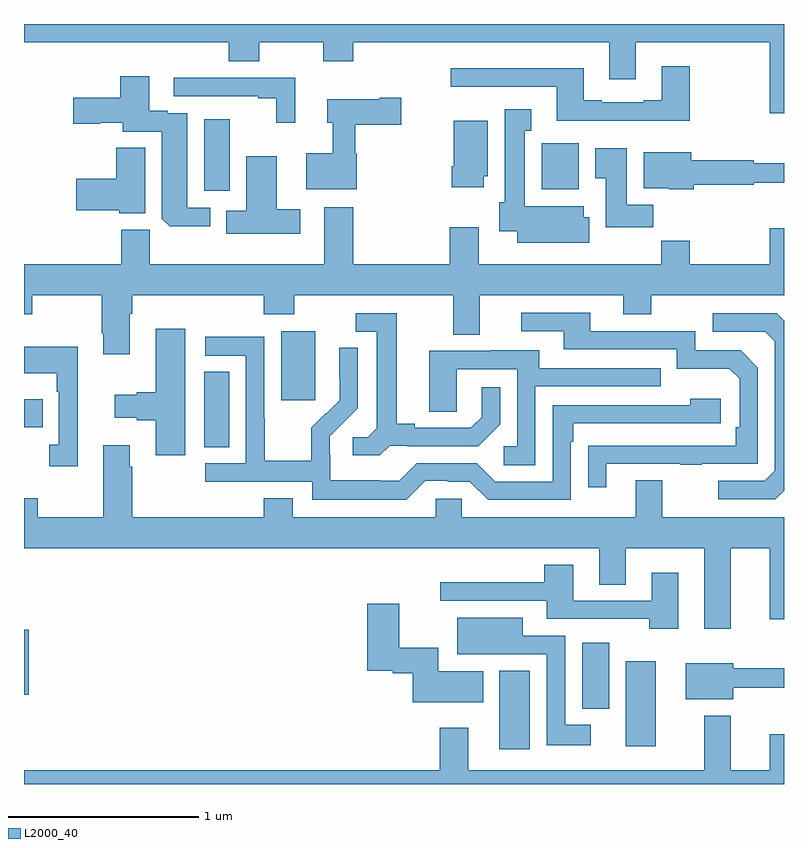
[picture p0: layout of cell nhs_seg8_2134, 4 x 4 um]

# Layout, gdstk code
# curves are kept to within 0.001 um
import gdstk
lib = gdstk.Library(unit=1e-6, precision=1e-09)
def R(c, l, rs):  # rectangles x0, y0, x1, y1
    for r in rs: c.add(gdstk.rectangle(r[:2], r[2:], *l))
def P(c, l, *ps):  # polygons
    for p in ps: c.add(gdstk.Polygon(p, *l))
L2000_40 = (2000, 40)

nhs_seg8_2134 = lib.new_cell('nhs_seg8_2134')
R(nhs_seg8_2134, L2000_40, [(247.502,1142.082,247.663,1142.497), (248.168,1142.1,248.326,1142.545), (247.937,1142.297,248.08,1142.644), (245,1142.369,245.026,1142.713), (245.948,1143.673,246.079,1144.07), (245,1143.778,245.099,1143.925), (246.353,1143.921,246.532,1144.282), (245.948,1145.022,246.082,1145.398), (247.724,1145.03,247.921,1145.272)])
P(nhs_seg8_2134, L2000_40, [(245,1145.804),(246.077,1145.804),(246.077,1145.705),(246.237,1145.705),(246.237,1145.804),(246.574,1145.804),(246.574,1145.705),(246.734,1145.705),(246.734,1145.804),(248.081,1145.804),(248.081,1145.61),(248.221,1145.61),(248.221,1145.804),(248.924,1145.804),(248.924,1145.43),(249,1145.43),(249,1145.9),(245,1145.9)],
  [(248.505,1145.677),(248.357,1145.677),(248.357,1145.5),(248.261,1145.5),(248.261,1145.487),(248.041,1145.487),(248.041,1145.5),(247.945,1145.5),(247.945,1145.668),(247.245,1145.668),(247.245,1145.571),(247.805,1145.571),(247.805,1145.39),(248.505,1145.39)],
  [(245.979,1144.932),(245.86,1144.932),(245.86,1145.43),(245.756,1145.43),(245.756,1145.443),(245.659,1145.443),(245.659,1145.626),(245.507,1145.626),(245.507,1145.511),(245.259,1145.511),(245.259,1145.374),(245.402,1145.374),(245.402,1145.381),(245.519,1145.381),(245.519,1145.334),(245.726,1145.334),(245.726,1144.876),(245.768,1144.835),(245.979,1144.835)],
  [(246.427,1145.616),(245.787,1145.616),(245.787,1145.52),(246.233,1145.52),(246.233,1145.508),(246.328,1145.508),(246.328,1145.379),(246.427,1145.379)],
  [(246.751,1145.217),(246.743,1145.217),(246.743,1145.369),(246.985,1145.369),(246.985,1145.511),(246.872,1145.511),(246.872,1145.503),(246.596,1145.503),(246.596,1145.381),(246.626,1145.381),(246.626,1145.221),(246.485,1145.221),(246.485,1145.03),(246.751,1145.03)],
  [(247.975,1144.883),(247.945,1144.883),(247.945,1144.942),(247.636,1144.942),(247.636,1145.339),(247.669,1145.339),(247.669,1145.452),(247.529,1145.452),(247.529,1144.962),(247.502,1144.962),(247.502,1144.808),(247.595,1144.808),(247.595,1144.748),(247.975,1144.748)],
  [(247.42,1145.1),(247.441,1145.1),(247.441,1145.392),(247.262,1145.392),(247.262,1145.152),(247.25,1145.152),(247.25,1145.04),(247.42,1145.04)],
  [(245.638,1145.249),(245.486,1145.249),(245.486,1145.085),(245.274,1145.085),(245.274,1144.919),(245.502,1144.919),(245.502,1144.904),(245.638,1144.904)],
  [(248.312,1144.948),(248.173,1144.948),(248.173,1145.245),(248.006,1145.245),(248.006,1145.089),(248.063,1145.089),(248.063,1144.83),(248.312,1144.83)],
  [(248.525,1145.055),(248.842,1145.055),(248.842,1145.065),(249,1145.065),(249,1145.168),(248.842,1145.168),(248.842,1145.183),(248.512,1145.183),(248.512,1145.224),(248.261,1145.224),(248.261,1145.036),(248.394,1145.036),(248.394,1145.03),(248.525,1145.03)],
  [(246.454,1144.926),(246.331,1144.926),(246.331,1145.203),(246.17,1145.203),(246.17,1144.918),(246.064,1144.918),(246.064,1144.796),(246.454,1144.796)],
  [(246.263,1144.373),(246.423,1144.373),(246.423,1144.472),(247.259,1144.472),(247.259,1144.264),(247.399,1144.264),(247.399,1144.472),(248.153,1144.472),(248.153,1144.373),(248.301,1144.373),(248.301,1144.472),(249,1144.472),(249,1144.825),(248.924,1144.825),(248.924,1144.636),(248.505,1144.636),(248.505,1144.76),(248.353,1144.76),(248.353,1144.636),(247.393,1144.636),(247.393,1144.831),(247.241,1144.831),(247.241,1144.636),(246.734,1144.636),(246.734,1144.936),(246.581,1144.936),(246.581,1144.636),(245.663,1144.636),(245.663,1144.818),(245.513,1144.818),(245.513,1144.636),(245,1144.636),(245,1144.373),(245.043,1144.373),(245.043,1144.472),(245.41,1144.472),(245.41,1144.273),(245.417,1144.273),(245.417,1144.161),(245.557,1144.161),(245.557,1144.376),(245.57,1144.376),(245.57,1144.472),(246.263,1144.472)],
  [(248.065,1143.585),(248.455,1143.585),(248.455,1143.58),(248.567,1143.58),(248.567,1143.585),(248.862,1143.585),(248.862,1144.092),(248.772,1144.182),(248.532,1144.182),(248.532,1144.284),(247.981,1144.284),(247.981,1144.38),(247.617,1144.38),(247.617,1144.284),(247.841,1144.284),(247.841,1144.188),(248.436,1144.188),(248.436,1144.085),(248.713,1144.085),(248.766,1144.032),(248.766,1143.778),(248.746,1143.778),(248.746,1143.681),(247.969,1143.68),(247.969,1143.462),(248.065,1143.462)],
  [(249,1143.444),(249,1144.338),(248.961,1144.377),(248.625,1144.377),(248.625,1144.281),(248.901,1144.281),(248.952,1144.23),(248.952,1143.549),(248.898,1143.495),(248.655,1143.495),(248.655,1143.399),(248.955,1143.399)],
  [(246.924,1143.681),(247.018,1143.681),(247.018,1143.678),(247.39,1143.678),(247.506,1143.794),(247.506,1143.988),(247.409,1143.988),(247.409,1143.831),(247.352,1143.774),(247.057,1143.774),(247.057,1143.797),(246.961,1143.797),(246.961,1144.377),(246.747,1144.377),(246.747,1144.281),(246.857,1144.281),(246.857,1143.773),(246.81,1143.726),(246.729,1143.726),(246.729,1143.629),(246.872,1143.629)],
  [(245.848,1144.297),(245.693,1144.297),(245.693,1143.962),(245.594,1143.962),(245.594,1143.949),(245.478,1143.949),(245.478,1143.827),(245.594,1143.827),(245.594,1143.815),(245.693,1143.815),(245.693,1143.63),(245.848,1143.63)],
  [(247.113,1143.495),(247.229,1143.495),(247.229,1143.492),(247.347,1143.492),(247.443,1143.396),(247.878,1143.396),(247.878,1143.701),(247.891,1143.701),(247.891,1143.798),(248.668,1143.798),(248.668,1143.928),(248.507,1143.928),(248.507,1143.894),(247.782,1143.894),(247.782,1143.492),(247.479,1143.492),(247.383,1143.588),(247.068,1143.588),(246.975,1143.495),(246.875,1143.495),(246.875,1143.499),(246.612,1143.499),(246.612,1143.633),(246.61,1143.633),(246.61,1143.73),(246.756,1143.878),(246.756,1144.196),(246.66,1144.196),(246.66,1144.042),(246.662,1144.042),(246.662,1143.92),(246.591,1143.849),(246.588,1143.852),(246.511,1143.775),(246.511,1143.601),(246.267,1143.601),(246.267,1143.824),(246.264,1143.824),(246.264,1144.254),(245.955,1144.254),(245.955,1144.155),(246.168,1144.155),(246.168,1143.588),(245.955,1143.588),(245.955,1143.492),(246.516,1143.492),(246.516,1143.395),(247.013,1143.395)],
  [(245.282,1144.201),(245,1144.201),(245,1144.061),(245.172,1144.061),(245.172,1143.965),(245.184,1143.965),(245.184,1143.686),(245.133,1143.686),(245.133,1143.573),(245.282,1143.573)],
  [(247.692,1143.993),(248.351,1143.993),(248.351,1144.089),(247.711,1144.089),(247.711,1144.183),(247.457,1144.183),(247.457,1144.179),(247.133,1144.179),(247.133,1143.859),(247.278,1143.859),(247.278,1144.083),(247.596,1144.083),(247.596,1143.678),(247.524,1143.678),(247.524,1143.577),(247.692,1143.577)],
  [(248.719,1143.14),(248.924,1143.14),(248.924,1142.766),(249,1142.766),(249,1143.304),(248.359,1143.304),(248.359,1143.499),(248.219,1143.499),(248.219,1143.304),(247.305,1143.304),(247.305,1143.402),(247.167,1143.402),(247.167,1143.304),(246.415,1143.304),(246.415,1143.403),(246.263,1143.403),(246.263,1143.304),(245.57,1143.304),(245.57,1143.569),(245.557,1143.569),(245.557,1143.682),(245.417,1143.682),(245.417,1143.304),(245.073,1143.304),(245.073,1143.403),(245,1143.403),(245,1143.14),(248.027,1143.14),(248.027,1142.95),(248.167,1142.95),(248.167,1143.14),(248.579,1143.14),(248.579,1142.718),(248.719,1142.718)],
  [(248.443,1143.013),(248.303,1143.013),(248.303,1142.865),(247.891,1142.865),(247.891,1143.055),(247.739,1143.055),(247.739,1142.962),(247.191,1142.962),(247.191,1142.865),(247.751,1142.865),(247.751,1142.769),(248.291,1142.769),(248.291,1142.718),(248.443,1142.718)],
  [(247.417,1142.494),(247.18,1142.494),(247.18,1142.618),(246.976,1142.618),(246.976,1142.848),(246.806,1142.848),(246.806,1142.495),(246.942,1142.495),(246.942,1142.483),(247.046,1142.483),(247.046,1142.33),(247.417,1142.33)],
  [(247.984,1142.212),(247.848,1142.212),(247.848,1142.679),(247.624,1142.679),(247.624,1142.776),(247.28,1142.776),(247.28,1142.582),(247.506,1142.582),(247.506,1142.583),(247.752,1142.583),(247.752,1142.105),(247.984,1142.105)],
  [(248.734,1142.407),(249,1142.407),(249,1142.51),(248.734,1142.51),(248.734,1142.536),(248.483,1142.536),(248.483,1142.345),(248.734,1142.345)],
  [(249,1142.161),(248.924,1142.161),(248.924,1141.972),(248.719,1141.972),(248.719,1142.26),(248.579,1142.26),(248.579,1141.972),(247.339,1141.972),(247.339,1142.197),(247.187,1142.197),(247.187,1141.972),(245,1141.972),(245,1141.9),(249,1141.9)])

lib.write_gds('nhs_seg8_2134.gds')
